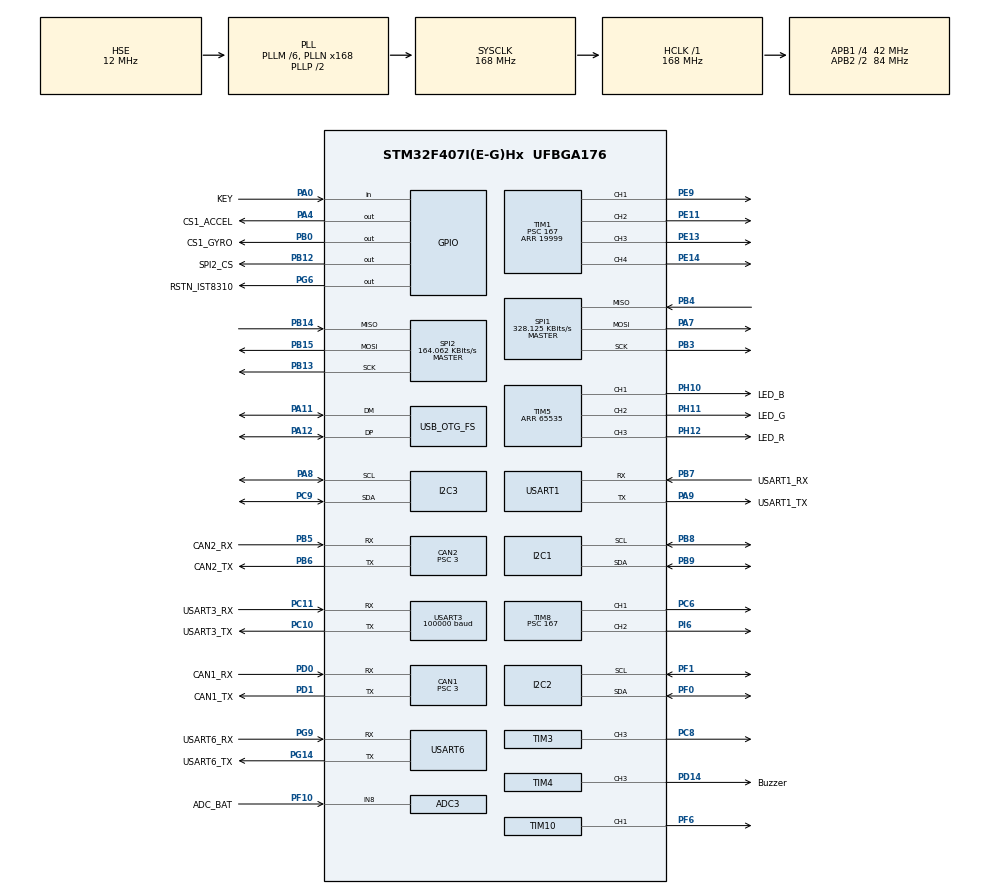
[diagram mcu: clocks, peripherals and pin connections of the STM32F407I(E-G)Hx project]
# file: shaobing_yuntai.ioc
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ADC1.Channel-0\#ChannelRegularConversion=ADC_CHANNEL_TEMPSENSOR
ADC1.ClockPrescaler=ADC_CLOCK_SYNC_PCLK_DIV6
ADC1.NbrOfConversionFlag=1
ADC1.Rank-0\#ChannelRegularConversion=1
ADC1.SamplingTime-0\#ChannelRegularConversion=ADC_SAMPLETIME_3CYCLES
ADC1.master=1
ADC3.Channel-0\#ChannelRegularConversion=ADC_CHANNEL_8
ADC3.ClockPrescaler=ADC_CLOCK_SYNC_PCLK_DIV6
ADC3.NbrOfConversionFlag=1
ADC3.Rank-0\#ChannelRegularConversion=1
ADC3.SamplingTime-0\#ChannelRegularConversion=ADC_SAMPLETIME_3CYCLES
CAN1.ABOM=DISABLE
CAN1.BS1=CAN_BS1_10TQ
CAN1.BS2=CAN_BS2_3TQ
CAN1.CalculateBaudRate=1000000
CAN1.CalculateTimeBit=1000
CAN1.CalculateTimeQuantum=71.42857142857143
CAN1.NART=DISABLE
CAN1.Prescaler=3
CAN2.BS1=CAN_BS1_10TQ
CAN2.BS2=CAN_BS2_3TQ
CAN2.CalculateBaudRate=1000000
CAN2.CalculateTimeBit=1000
CAN2.CalculateTimeQuantum=71.42857142857143
CAN2.Prescaler=3
Dma.I2C2_TX.4.Direction=DMA_MEMORY_TO_PERIPH
Dma.I2C2_TX.4.FIFOMode=DMA_FIFOMODE_DISABLE
Dma.I2C2_TX.4.Instance=DMA1_Stream7
Dma.I2C2_TX.4.MemDataAlignment=DMA_MDATAALIGN_BYTE
Dma.I2C2_TX.4.MemInc=DMA_MINC_ENABLE
Dma.I2C2_TX.4.Mode=DMA_NORMAL
Dma.I2C2_TX.4.PeriphDataAlignment=DMA_PDATAALIGN_BYTE
Dma.I2C2_TX.4.PeriphInc=DMA_PINC_DISABLE
Dma.I2C2_TX.4.Priority=DMA_PRIORITY_HIGH
Dma.Request0=USART1_TX
Dma.Request1=USART3_RX
Dma.Request2=USART6_RX
Dma.Request3=USART6_TX
Dma.Request4=I2C2_TX
Dma.Request5=SPI1_RX
Dma.Request6=SPI1_TX
Dma.Request7=USART1_RX
Dma.SPI1_RX.5.Direction=DMA_PERIPH_TO_MEMORY
Dma.SPI1_RX.5.FIFOMode=DMA_FIFOMODE_DISABLE
Dma.SPI1_RX.5.Instance=DMA2_Stream2
Dma.SPI1_RX.5.MemDataAlignment=DMA_MDATAALIGN_BYTE
Dma.SPI1_RX.5.MemInc=DMA_MINC_ENABLE
Dma.SPI1_RX.5.Mode=DMA_NORMAL
Dma.SPI1_RX.5.PeriphDataAlignment=DMA_PDATAALIGN_BYTE
Dma.SPI1_RX.5.PeriphInc=DMA_PINC_DISABLE
Dma.SPI1_RX.5.Priority=DMA_PRIORITY_VERY_HIGH
Dma.SPI1_TX.6.Direction=DMA_MEMORY_TO_PERIPH
Dma.SPI1_TX.6.FIFOMode=DMA_FIFOMODE_DISABLE
Dma.SPI1_TX.6.Instance=DMA2_Stream3
Dma.SPI1_TX.6.MemDataAlignment=DMA_MDATAALIGN_BYTE
Dma.SPI1_TX.6.MemInc=DMA_MINC_ENABLE
Dma.SPI1_TX.6.Mode=DMA_NORMAL
Dma.SPI1_TX.6.PeriphDataAlignment=DMA_PDATAALIGN_BYTE
Dma.SPI1_TX.6.PeriphInc=DMA_PINC_DISABLE
Dma.SPI1_TX.6.Priority=DMA_PRIORITY_HIGH
Dma.USART1_RX.7.Direction=DMA_PERIPH_TO_MEMORY
Dma.USART1_RX.7.FIFOMode=DMA_FIFOMODE_DISABLE
Dma.USART1_RX.7.Instance=DMA2_Stream5
Dma.USART1_RX.7.MemDataAlignment=DMA_MDATAALIGN_BYTE
Dma.USART1_RX.7.MemInc=DMA_MINC_ENABLE
Dma.USART1_RX.7.Mode=DMA_NORMAL
Dma.USART1_RX.7.PeriphDataAlignment=DMA_PDATAALIGN_BYTE
Dma.USART1_RX.7.PeriphInc=DMA_PINC_DISABLE
Dma.USART1_RX.7.Priority=DMA_PRIORITY_MEDIUM
Dma.USART1_TX.0.Direction=DMA_MEMORY_TO_PERIPH
Dma.USART1_TX.0.FIFOMode=DMA_FIFOMODE_DISABLE
Dma.USART1_TX.0.Instance=DMA2_Stream7
Dma.USART1_TX.0.MemDataAlignment=DMA_MDATAALIGN_BYTE
Dma.USART1_TX.0.MemInc=DMA_MINC_ENABLE
Dma.USART1_TX.0.Mode=DMA_NORMAL
Dma.USART1_TX.0.PeriphDataAlignment=DMA_PDATAALIGN_BYTE
Dma.USART1_TX.0.PeriphInc=DMA_PINC_DISABLE
Dma.USART1_TX.0.Priority=DMA_PRIORITY_MEDIUM
Dma.USART3_RX.1.Direction=DMA_PERIPH_TO_MEMORY
Dma.USART3_RX.1.FIFOMode=DMA_FIFOMODE_DISABLE
Dma.USART3_RX.1.Instance=DMA1_Stream1
Dma.USART3_RX.1.MemDataAlignment=DMA_MDATAALIGN_BYTE
Dma.USART3_RX.1.MemInc=DMA_MINC_ENABLE
Dma.USART3_RX.1.Mode=DMA_NORMAL
Dma.USART3_RX.1.PeriphDataAlignment=DMA_PDATAALIGN_BYTE
Dma.USART3_RX.1.PeriphInc=DMA_PINC_DISABLE
Dma.USART3_RX.1.Priority=DMA_PRIORITY_HIGH
Dma.USART6_RX.2.Direction=DMA_PERIPH_TO_MEMORY
Dma.USART6_RX.2.FIFOMode=DMA_FIFOMODE_DISABLE
Dma.USART6_RX.2.Instance=DMA2_Stream1
Dma.USART6_RX.2.MemDataAlignment=DMA_MDATAALIGN_BYTE
Dma.USART6_RX.2.MemInc=DMA_MINC_ENABLE
Dma.USART6_RX.2.Mode=DMA_NORMAL
Dma.USART6_RX.2.PeriphDataAlignment=DMA_PDATAALIGN_BYTE
Dma.USART6_RX.2.PeriphInc=DMA_PINC_DISABLE
Dma.USART6_RX.2.Priority=DMA_PRIORITY_HIGH
Dma.USART6_TX.3.Direction=DMA_MEMORY_TO_PERIPH
Dma.USART6_TX.3.FIFOMode=DMA_FIFOMODE_DISABLE
Dma.USART6_TX.3.Instance=DMA2_Stream6
Dma.USART6_TX.3.MemDataAlignment=DMA_MDATAALIGN_BYTE
Dma.USART6_TX.3.MemInc=DMA_MINC_ENABLE
Dma.USART6_TX.3.Mode=DMA_NORMAL
Dma.USART6_TX.3.PeriphDataAlignment=DMA_PDATAALIGN_BYTE
Dma.USART6_TX.3.PeriphInc=DMA_PINC_DISABLE
Dma.USART6_TX.3.Priority=DMA_PRIORITY_MEDIUM
I2C1.I2C_Mode=I2C_Fast
I2C2.I2C_Mode=I2C_Fast
I2C3.I2C_Mode=I2C_Fast
Mcu.Family=STM32F4
Mcu.Name=STM32F407I(E-G)Hx
Mcu.Package=UFBGA176
NVIC.CAN1_RX0_IRQn=true\:6\:0\:true\:false\:true\:true\:true\:true
NVIC.CAN2_RX0_IRQn=true\:6\:0\:true\:false\:true\:true\:true\:true
NVIC.CAN2_SCE_IRQn=true\:5\:0\:true\:false\:true\:true\:true\:true
NVIC.DMA1_Stream1_IRQn=true\:5\:0\:true\:false\:true\:false\:true\:true
NVIC.DMA1_Stream7_IRQn=true\:5\:0\:true\:false\:true\:false\:true\:true
NVIC.DMA2_Stream1_IRQn=true\:5\:0\:true\:false\:true\:false\:true\:true
NVIC.DMA2_Stream2_IRQn=true\:5\:0\:true\:false\:true\:false\:true\:true
NVIC.DMA2_Stream3_IRQn=true\:5\:0\:true\:false\:true\:false\:true\:true
NVIC.DMA2_Stream5_IRQn=true\:0\:0\:false\:false\:true\:false\:true\:true
NVIC.DMA2_Stream6_IRQn=true\:5\:0\:true\:false\:true\:false\:true\:true
NVIC.DMA2_Stream7_IRQn=true\:5\:0\:true\:false\:true\:false\:true\:true
NVIC.OTG_FS_IRQn=true\:0\:0\:false\:false\:true\:true\:true\:true
NVIC.PriorityGroup=NVIC_PRIORITYGROUP_4
NVIC.TIM8_TRG_COM_TIM14_IRQn=true\:5\:0\:true\:false\:true\:true\:true\:true
NVIC.USART1_IRQn=true\:5\:0\:true\:false\:true\:true\:true\:true
NVIC.USART3_IRQn=true\:4\:0\:true\:false\:true\:true\:true\:true
NVIC.USART6_IRQn=true\:5\:0\:true\:false\:true\:true\:true\:true
PA0-WKUP.GPIO_Label=KEY
PA0-WKUP.GPIO_PuPd=GPIO_PULLUP
PA0-WKUP.Signal=GPIO_Input
PA11.Mode=Device_Only
PA11.Signal=USB_OTG_FS_DM
PA12.Mode=Device_Only
PA12.Signal=USB_OTG_FS_DP
PA13.Mode=Serial_Wire
PA13.Signal=SYS_JTMS-SWDIO
PA14.Mode=Serial_Wire
PA14.Signal=SYS_JTCK-SWCLK
PA4.GPIO_Label=CS1_ACCEL
PA4.GPIO_PuPd=GPIO_PULLUP
PA4.GPIO_Speed=GPIO_SPEED_FREQ_HIGH
PA4.PinState=GPIO_PIN_SET
PA4.Signal=GPIO_Output
PA7.GPIO_PuPd=GPIO_PULLUP
PA7.Mode=Full_Duplex_Master
PA7.Signal=SPI1_MOSI
PA8.GPIO_Pu=GPIO_PULLUP
PA8.Mode=I2C
PA8.Signal=I2C3_SCL
PA9.GPIO_Label=USART1_TX
PA9.Mode=Asynchronous
PA9.Signal=USART1_TX
PB0.GPIO_Label=CS1_GYRO
PB0.GPIO_PuPd=GPIO_PULLUP
PB0.GPIO_Speed=GPIO_SPEED_FREQ_HIGH
PB0.PinState=GPIO_PIN_SET
PB0.Signal=GPIO_Output
PB12.GPIO_Label=SPI2_CS
PB12.GPIO_ModeDefaultOutputPP=GPIO_MODE_OUTPUT_PP
PB12.GPIO_PuPd=GPIO_PULLUP
PB12.GPIO_Speed=GPIO_SPEED_FREQ_MEDIUM
PB12.PinState=GPIO_PIN_SET
PB12.Signal=GPIO_Output
PB13.GPIO_PuPd=GPIO_PULLUP
PB13.Mode=Full_Duplex_Master
PB13.Signal=SPI2_SCK
PB14.GPIO_PuPd=GPIO_PULLUP
PB14.Mode=Full_Duplex_Master
PB14.Signal=SPI2_MISO
PB15.GPIO_PuPd=GPIO_PULLUP
PB15.Mode=Full_Duplex_Master
PB15.Signal=SPI2_MOSI
PB3.GPIO_PuPd=GPIO_PULLUP
PB3.Mode=Full_Duplex_Master
PB3.Signal=SPI1_SCK
PB4.GPIO_PuPd=GPIO_PULLUP
PB4.Mode=Full_Duplex_Master
PB4.Signal=SPI1_MISO
PB5.GPIO_Label=CAN2_RX
PB5.Mode=CAN_Activate
PB5.Signal=CAN2_RX
PB6.GPIO_Label=CAN2_TX
PB6.Mode=CAN_Activate
PB6.Signal=CAN2_TX
PB7.GPIO_Label=USART1_RX
PB7.Mode=Asynchronous
PB7.Signal=USART1_RX
PB8.GPIO_Pu=GPIO_PULLUP
PB8.Mode=I2C
PB8.Signal=I2C1_SCL
PB9.GPIO_Pu=GPIO_PULLUP
PB9.Mode=I2C
PB9.Signal=I2C1_SDA
PC10.GPIO_Label=USART3_TX
PC10.Mode=Asynchronous
PC10.Signal=USART3_TX
PC11.GPIO_Label=USART3_RX
PC11.Mode=Asynchronous
PC11.Signal=USART3_RX
PC6.GPIO_PuPd=GPIO_PULLUP
PC6.GPIO_Speed=GPIO_SPEED_FREQ_HIGH
PC6.Signal=S_TIM8_CH1
PC8.GPIO_PuPd=GPIO_PULLUP
PC8.GPIO_Speed=GPIO_SPEED_FREQ_HIGH
PC8.Signal=S_TIM3_CH3
PC9.GPIO_Pu=GPIO_PULLUP
PC9.Mode=I2C
PC9.Signal=I2C3_SDA
PD0.GPIO_Label=CAN1_RX
PD0.Mode=CAN_Activate
PD0.Signal=CAN1_RX
PD1.GPIO_Label=CAN1_TX
PD1.Mode=CAN_Activate
PD1.Signal=CAN1_TX
PD14.GPIO_Label=Buzzer
PD14.GPIO_PuPd=GPIO_PULLUP
PD14.GPIO_Speed=GPIO_SPEED_FREQ_VERY_HIGH
PD14.Signal=S_TIM4_CH3
PE11.GPIO_PuPd=GPIO_PULLUP
PE11.GPIO_Speed=GPIO_SPEED_FREQ_HIGH
PE11.Signal=S_TIM1_CH2
PE13.GPIO_PuPd=GPIO_PULLUP
PE13.GPIO_Speed=GPIO_SPEED_FREQ_HIGH
PE13.Signal=S_TIM1_CH3
PE14.GPIO_PuPd=GPIO_PULLUP
PE14.GPIO_Speed=GPIO_SPEED_FREQ_HIGH
PE14.Signal=S_TIM1_CH4
PE9.GPIO_PuPd=GPIO_PULLUP
PE9.GPIO_Speed=GPIO_SPEED_FREQ_HIGH
PE9.Signal=S_TIM1_CH1
PF0.GPIO_Pu=GPIO_PULLUP
PF0.Mode=I2C
PF0.Signal=I2C2_SDA
PF1.GPIO_Pu=GPIO_PULLUP
PF1.Mode=I2C
PF1.Signal=I2C2_SCL
PF10.GPIO_Label=ADC_BAT
PF10.Mode=IN8
PF10.Signal=ADC3_IN8
PF6.GPIO_PuPd=GPIO_PULLUP
PF6.GPIO_Speed=GPIO_SPEED_FREQ_HIGH
PF6.Signal=S_TIM10_CH1
PG14.GPIO_Label=USART6_TX
PG14.Mode=Asynchronous
PG14.Signal=USART6_TX
PG6.GPIO_Label=RSTN_IST8310
PG6.GPIO_PuPd=GPIO_PULLUP
PG6.GPIO_Speed=GPIO_SPEED_FREQ_MEDIUM
PG6.PinState=GPIO_PIN_SET
PG6.Signal=GPIO_Output
PG9.GPIO_Label=USART6_RX
PG9.Mode=Asynchronous
PG9.Signal=USART6_RX
PH0-OSC_IN.Mode=HSE-External-Oscillator
PH0-OSC_IN.Signal=RCC_OSC_IN
PH1-OSC_OUT.Mode=HSE-External-Oscillator
PH1-OSC_OUT.Signal=RCC_OSC_OUT
PH10.GPIO_Label=LED_B
PH10.GPIO_PuPd=GPIO_PULLUP
PH10.GPIO_Speed=GPIO_SPEED_FREQ_HIGH
PH10.Signal=S_TIM5_CH1
PH11.GPIO_Label=LED_G
PH11.GPIO_PuPd=GPIO_PULLUP
PH11.GPIO_Speed=GPIO_SPEED_FREQ_HIGH
PH11.Signal=S_TIM5_CH2
PH12.GPIO_Label=LED_R
PH12.GPIO_PuPd=GPIO_PULLUP
PH12.GPIO_Speed=GPIO_SPEED_FREQ_HIGH
PH12.Signal=S_TIM5_CH3
PI6.GPIO_PuPd=GPIO_PULLUP
PI6.GPIO_Speed=GPIO_SPEED_FREQ_HIGH
PI6.Signal=S_TIM8_CH2
ProjectManager.HeapSize=0x200
ProjectManager.StackSize=0x400
ProjectManager.TargetToolchain=CMake
RCC.48MHZClocksFreq_Value=48000000
RCC.AHBFreq_Value=168000000
RCC.APB1CLKDivider=RCC_HCLK_DIV4
RCC.APB1Freq_Value=42000000
RCC.APB1TimFreq_Value=84000000
RCC.APB2CLKDivider=RCC_HCLK_DIV2
RCC.APB2Freq_Value=84000000
RCC.APB2TimFreq_Value=168000000
RCC.CortexFreq_Value=168000000
RCC.HCLKFreq_Value=168000000
RCC.HSE_VALUE=12000000
RCC.HSI_VALUE=16000000
RCC.LSE_VALUE=32768
RCC.PLLM=6
RCC.PLLN=168
RCC.PLLQ=7
RCC.RCC_RTC_Clock_SourceVirtual=RCC_RTCCLKSOURCE_HSE_DIV30
RCC.RCC_RTC_Clock_Source_FROM_HSE=RCC_RTCCLKSOURCE_HSE_DIV30
RCC.SYSCLKFreq_VALUE=168000000
RCC.SYSCLKSource=RCC_SYSCLKSOURCE_PLLCLK
RCC.VCOOutputFreq_Value=336000000
RTC.AsynchPrediv=124
RTC.SynchPrediv=3199
SH.S_TIM10_CH1.0=TIM10_CH1,PWM Generation1 CH1
SH.S_TIM1_CH1.0=TIM1_CH1,PWM Generation1 CH1
SH.S_TIM1_CH2.0=TIM1_CH2,PWM Generation2 CH2
SH.S_TIM1_CH3.0=TIM1_CH3,PWM Generation3 CH3
SH.S_TIM1_CH4.0=TIM1_CH4,PWM Generation4 CH4
SH.S_TIM3_CH3.0=TIM3_CH3,PWM Generation3 CH3
SH.S_TIM4_CH3.0=TIM4_CH3,PWM Generation3 CH3
SH.S_TIM5_CH1.0=TIM5_CH1,PWM Generation1 CH1
SH.S_TIM5_CH2.0=TIM5_CH2,PWM Generation2 CH2
SH.S_TIM5_CH3.0=TIM5_CH3,PWM Generation3 CH3
SH.S_TIM8_CH1.0=TIM8_CH1,PWM Generation1 CH1
SH.S_TIM8_CH2.0=TIM8_CH2,PWM Generation2 CH2
SPI1.BaudRatePrescaler=SPI_BAUDRATEPRESCALER_256
SPI1.CLKPhase=SPI_PHASE_2EDGE
SPI1.CLKPolarity=SPI_POLARITY_HIGH
SPI1.CalculateBaudRate=328.125 KBits/s
SPI1.Direction=SPI_DIRECTION_2LINES
SPI1.Mode=SPI_MODE_MASTER
SPI1.VirtualType=VM_MASTER
SPI2.BaudRatePrescaler=SPI_BAUDRATEPRESCALER_256
SPI2.CLKPhase=SPI_PHASE_2EDGE
SPI2.CLKPolarity=SPI_POLARITY_HIGH
SPI2.CalculateBaudRate=164.062 KBits/s
SPI2.Direction=SPI_DIRECTION_2LINES
SPI2.Mode=SPI_MODE_MASTER
SPI2.VirtualType=VM_MASTER
STMicroelectronics.X-CUBE-ALGOBUILD.1.4.0.LibraryCcDSPOoLibraryJjDSPOoLibrary=true
TIM1.Channel-PWM\ Generation1\ CH1=TIM_CHANNEL_1
TIM1.Channel-PWM\ Generation2\ CH2=TIM_CHANNEL_2
TIM1.Channel-PWM\ Generation3\ CH3=TIM_CHANNEL_3
TIM1.Channel-PWM\ Generation4\ CH4=TIM_CHANNEL_4
TIM1.Period=19999
TIM1.Prescaler=167
TIM1.Pulse-PWM\ Generation1\ CH1=1000
TIM1.Pulse-PWM\ Generation2\ CH2=1000
TIM1.Pulse-PWM\ Generation3\ CH3=1000
TIM1.Pulse-PWM\ Generation4\ CH4=1000
TIM10.Channel=TIM_CHANNEL_1
TIM10.Period=4999
TIM14.Channel=TIM_CHANNEL_1
TIM14.Period=9999
TIM14.Prescaler=83
TIM3.Channel-PWM\ Generation3\ CH3=TIM_CHANNEL_3
TIM4.Channel-PWM\ Generation3\ CH3=TIM_CHANNEL_3
TIM4.Prescaler=0
TIM5.Channel-PWM\ Generation1\ CH1=TIM_CHANNEL_1
TIM5.Channel-PWM\ Generation2\ CH2=TIM_CHANNEL_2
TIM5.Channel-PWM\ Generation3\ CH3=TIM_CHANNEL_3
TIM5.Period=65535
TIM8.Channel-PWM\ Generation1\ CH1=TIM_CHANNEL_1
TIM8.Channel-PWM\ Generation2\ CH2=TIM_CHANNEL_2
TIM8.Period=19999
TIM8.Prescaler=167
TIM8.Pulse-PWM\ Generation1\ CH1=1000
USART1.VirtualMode=VM_ASYNC
USART3.BaudRate=100000
USART3.Parity=PARITY_EVEN
USART3.VirtualMode=VM_ASYNC
USART6.VirtualMode=VM_ASYNC
USB_DEVICE.CLASS_NAME_FS=CDC
USB_DEVICE.VirtualMode-CDC_FS=Cdc
USB_DEVICE.VirtualModeFS=Cdc_FS
USB_OTG_FS.VirtualMode=Device_Only
VP_ADC1_TempSens_Input.Mode=IN-TempSens
VP_ADC1_Vref_Input.Mode=IN-Vrefint
VP_RTC_VS_RTC_Activate.Mode=RTC_Enabled
VP_STMicroelectronics.X-CUBE-ALGOBUILD_VS_DSPOoLibraryJjLibrary_1.4.0_1.4.0.Mode=DSPOoLibraryJjLibrary
VP_TIM10_VS_ClockSourceINT.Mode=Enable_Timer
VP_TIM14_VS_ClockSourceINT.Mode=Enable_Timer
VP_TIM14_VS_no_output1.Mode=Output Compare1 No Output
VP_TIM1_VS_ClockSourceINT.Mode=Internal
VP_TIM3_VS_ClockSourceINT.Mode=Internal
VP_TIM5_VS_ClockSourceINT.Mode=Internal
VP_TIM8_VS_ClockSourceINT.Mode=Internal
VP_USB_DEVICE_VS_USB_DEVICE_CDC_FS.Mode=CDC_FS
board=custom

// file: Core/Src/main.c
/* USER CODE BEGIN Header */
/**
  ******************************************************************************
  * @file           : main.c
  * @brief          : Main program body
  ******************************************************************************
  * @attention
  *
  * Copyright (c) 2025 STMicroelectronics.
  * All rights reserved.
  *
  * This software is licensed under terms that can be found in the LICENSE file
  * in the root directory of this software component.
  * If no LICENSE file comes with this software, it is provided AS-IS.
  *
  ******************************************************************************
  */
/* USER CODE END Header */
#include "main.h"
#include "adc.h"
#include "can.h"
#include "dma.h"
#include "gpio.h"
#include "i2c.h"
#include "rtc.h"
#include "spi.h"
#include "tim.h"
#include "usart.h"
#include "usb_device.h"

/* USER CODE BEGIN Includes */
#include "shoot_test.h"
#include "pitch_test.h"
/* USER CODE END Includes */

/* USER CODE BEGIN PV */
static uint32_t control_tick_ms;
static uint32_t debug_tick_ms;
static uint32_t heartbeat_tick_ms;
/* USER CODE END PV */

void SystemClock_Config(void);

int main(void)
{

  /* MCU Configuration--------------------------------------------------------*/

  /* Reset of all peripherals, Initializes the Flash interface and the Systick. */
  HAL_Init();

  /* Configure the system clock */
  SystemClock_Config();

  /* Initialize all configured peripherals */
  MX_GPIO_Init();
  MX_DMA_Init();
  MX_TIM5_Init();
  MX_TIM4_Init();
  MX_CAN1_Init();
  MX_CAN2_Init();
  MX_USART1_UART_Init();
  MX_USART3_UART_Init();
  MX_USART6_UART_Init();
  MX_ADC1_Init();
  MX_ADC3_Init();
  MX_RTC_Init();
  MX_TIM1_Init();
  MX_TIM3_Init();
  MX_TIM8_Init();
  MX_TIM10_Init();
  MX_I2C1_Init();
  MX_I2C2_Init();
  MX_I2C3_Init();
  MX_SPI1_Init();
  MX_SPI2_Init();
  MX_TIM14_Init();
  MX_USB_DEVICE_Init();
  /* USER CODE BEGIN 2 */
  Shoot_Test_Init();
  /* CAN1发射与CAN2 Yaw/Pitch共用遥控器，外设由Shoot_Test_Init统一启动。 */
  Pitch_Test_Init();
  control_tick_ms = HAL_GetTick();
  debug_tick_ms = control_tick_ms;
  heartbeat_tick_ms = control_tick_ms;
  /* USER CODE END 2 */

  /* Infinite loop */
  while (1)
  {

    /* USER CODE BEGIN 3 */
    if ((uint32_t)(HAL_GetTick() - control_tick_ms) >= 2U)
    {
      control_tick_ms = HAL_GetTick();
      Shoot_Test_Update();
      /* 每2ms更新CAN2的6020 ID1 Yaw和ID3 Pitch位置控制。 */
      Pitch_Test_Update();
    }

#if PITCH_TUNING_DEBUG
    /* Pitch调参使用20Hz快照，采样期间只输出CAN2 ID3，不与整车DMA抢占。 */
    if ((uint32_t)(HAL_GetTick() - debug_tick_ms) >= PITCH_DEBUG_PERIOD_MS)
    {
      debug_tick_ms = HAL_GetTick();
      Pitch_Test_DebugPrint();
    }
#else
    if ((uint32_t)(HAL_GetTick() - debug_tick_ms) >= 1000U)
    {
      debug_tick_ms += 1000U;
      Shoot_Test_DebugPrint();
    }
#endif
    if ((uint32_t)(HAL_GetTick() - heartbeat_tick_ms) >= 500U)
    {
      heartbeat_tick_ms = HAL_GetTick();
      HAL_GPIO_TogglePin(LED_G_GPIO_Port, LED_G_Pin);
    }
  }
  /* USER CODE END 3 */
}

void SystemClock_Config(void)
{
  RCC_OscInitTypeDef RCC_OscInitStruct = {0};
  RCC_ClkInitTypeDef RCC_ClkInitStruct = {0};

  /** Configure the main internal regulator output voltage
  */
  __HAL_RCC_PWR_CLK_ENABLE();
  __HAL_PWR_VOLTAGESCALING_CONFIG(PWR_REGULATOR_VOLTAGE_SCALE1);

  /** Initializes the RCC Oscillators according to the specified parameters
  * in the RCC_OscInitTypeDef structure.
  */
  RCC_OscInitStruct.OscillatorType = RCC_OSCILLATORTYPE_HSE;
  RCC_OscInitStruct.HSEState = RCC_HSE_ON;
  RCC_OscInitStruct.PLL.PLLState = RCC_PLL_ON;
  RCC_OscInitStruct.PLL.PLLSource = RCC_PLLSOURCE_HSE;
  RCC_OscInitStruct.PLL.PLLM = 6;
  RCC_OscInitStruct.PLL.PLLN = 168;
  RCC_OscInitStruct.PLL.PLLP = RCC_PLLP_DIV2;
  RCC_OscInitStruct.PLL.PLLQ = 7;
  if (HAL_RCC_OscConfig(&RCC_OscInitStruct) != HAL_OK)
  {
    Error_Handler();
  }

  /** Initializes the CPU, AHB and APB buses clocks
  */
  RCC_ClkInitStruct.ClockType = RCC_CLOCKTYPE_HCLK|RCC_CLOCKTYPE_SYSCLK
                              |RCC_CLOCKTYPE_PCLK1|RCC_CLOCKTYPE_PCLK2;
  RCC_ClkInitStruct.SYSCLKSource = RCC_SYSCLKSOURCE_PLLCLK;
  RCC_ClkInitStruct.AHBCLKDivider = RCC_SYSCLK_DIV1;
  RCC_ClkInitStruct.APB1CLKDivider = RCC_HCLK_DIV4;
  RCC_ClkInitStruct.APB2CLKDivider = RCC_HCLK_DIV2;

  if (HAL_RCC_ClockConfig(&RCC_ClkInitStruct, FLASH_LATENCY_5) != HAL_OK)
  {
    Error_Handler();
  }
}

void Error_Handler(void)
{
  __disable_irq();
  while (1)
  {
  }
}

#ifdef USE_FULL_ASSERT
/**
  * @brief  Reports the name of the source file and the source line number
  *         where the assert_param error has occurred.
  * @param  file: pointer to the source file name
  * @param  line: assert_param error line source number
  * @retval None
  */
void assert_failed(uint8_t *file, uint32_t line)
{
  /* USER CODE BEGIN 6 */
  /* User can add his own implementation to report the file name and line number. */
  (void)file;
  (void)line;
  /* USER CODE END 6 */
}
#endif /* USE_FULL_ASSERT */
